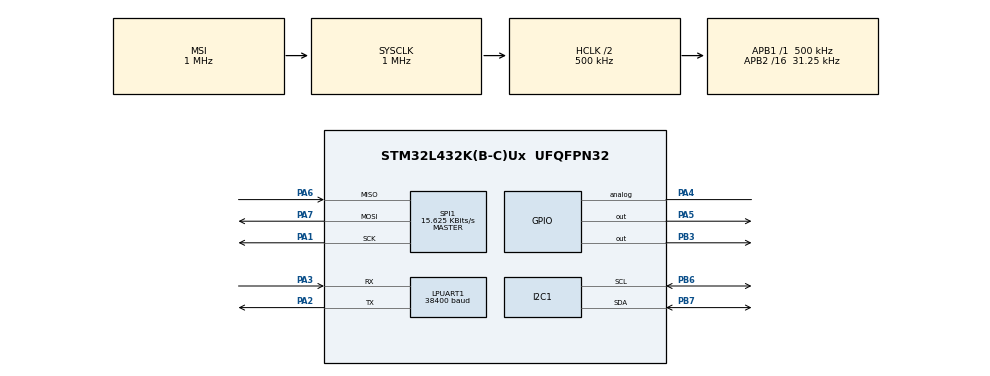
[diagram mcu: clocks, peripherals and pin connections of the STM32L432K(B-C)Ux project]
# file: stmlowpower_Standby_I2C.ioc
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FATFS._FS_TINY=1
FATFS._MAX_SS=4096
FATFS._USE_LFN=1
I2C1.Timing=0x00000103
LPUART1.BaudRate=38400
LPUART1.WordLength=UART_WORDLENGTH_8B
Mcu.Family=STM32L4
Mcu.Name=STM32L432K(B-C)Ux
Mcu.Package=UFQFPN32
NVIC.LPUART1_IRQn=true\:0\:0\:false\:false\:true\:true\:true\:true
NVIC.PriorityGroup=NVIC_PRIORITYGROUP_4
NVIC.RCC_IRQn=true\:0\:0\:false\:false\:true\:true\:false\:true
NVIC.RTC_WKUP_IRQn=true\:0\:0\:false\:false\:true\:true\:true\:true
PA0.Mode=HSE-External-Clock-Source-for-LittleOrca
PA0.Signal=RCC_CK_IN
PA1.GPIO_PuPd=GPIO_PULLUP
PA1.Mode=Full_Duplex_Master
PA1.Signal=SPI1_SCK
PA2.Mode=Asynchronous
PA2.Signal=LPUART1_TX
PA3.Mode=Asynchronous
PA3.Signal=LPUART1_RX
PA4.Signal=GPIO_Analog
PA5.GPIO_PuPd=GPIO_PULLUP
PA5.PinState=GPIO_PIN_SET
PA5.Signal=GPIO_Output
PA6.GPIO_PuPd=GPIO_PULLUP
PA6.Mode=Full_Duplex_Master
PA6.Signal=SPI1_MISO
PA7.GPIO_PuPd=GPIO_PULLUP
PA7.Mode=Full_Duplex_Master
PA7.Signal=SPI1_MOSI
PB3\ (JTDO-TRACESWO).Signal=GPIO_Output
PB6.Mode=I2C
PB6.Signal=I2C1_SCL
PB7.Mode=I2C
PB7.Signal=I2C1_SDA
ProjectManager.HeapSize=0x200
ProjectManager.StackSize=0x400
ProjectManager.TargetToolchain=STM32CubeIDE
RCC.ADCFreq_Value=500000
RCC.AHBCLKDivider=RCC_SYSCLK_DIV2
RCC.AHBFreq_Value=500000
RCC.APB1Freq_Value=500000
RCC.APB1TimFreq_Value=500000
RCC.APB2CLKDivider=RCC_HCLK_DIV16
RCC.APB2Freq_Value=31250
RCC.APB2TimFreq_Value=62500
RCC.CortexFreq_Value=62500
RCC.Cortex_Div=SYSTICK_CLKSOURCE_HCLK_DIV8
RCC.HCLKFreq_Value=500000
RCC.HSE_VALUE=1000000
RCC.HSI48_VALUE=48000000
RCC.HSI_VALUE=16000000
RCC.I2C1CLockSelection=RCC_I2C1CLKSOURCE_SYSCLK
RCC.LSE_VALUE=32768
RCC.MSIClockRange=RCC_MSIRANGE_4
RCC.MSI_VALUE=1000000
RCC.PLLM=8
RCC.PLLR=RCC_PLLR_DIV8
RCC.PLLSourceVirtual=RCC_PLLSOURCE_HSE
RCC.SYSCLKFreq_VALUE=1000000
RCC.USBFreq_Value=500000
RCC.VCOOutputFreq_Value=1000000
SPI1.CalculateBaudRate=15.625 KBits/s
SPI1.Direction=SPI_DIRECTION_2LINES
SPI1.Mode=SPI_MODE_MASTER
SPI1.VirtualType=VM_MASTER
VP_FATFS_VS_Generic.Mode=User_defined
VP_RTC_VS_RTC_Activate.Mode=RTC_Enabled
VP_RTC_VS_RTC_WakeUp_intern.Mode=WakeUp
board=custom

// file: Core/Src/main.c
/* USER CODE BEGIN Header */
/**
  ******************************************************************************
  * @file           : main.c
  * @brief          : Main program body
  ******************************************************************************
  * @attention
  *
  * Copyright (c) 2023 STMicroelectronics.
  * All rights reserved.
  *
  * This software is licensed under terms that can be found in the LICENSE file
  * in the root directory of this software component.
  * If no LICENSE file comes with this software, it is provided AS-IS.
  *
  ******************************************************************************
  */
/* USER CODE END Header */
#include "main.h"
#include "fatfs.h"

/* USER CODE BEGIN Includes */
#include "string.h"
#include <stdio.h>
/* USER CODE END Includes */

I2C_HandleTypeDef hi2c1;

UART_HandleTypeDef hlpuart1;

RTC_HandleTypeDef hrtc;

SPI_HandleTypeDef hspi1;

/* USER CODE BEGIN PV */
uint8_t  tempH; //Last 8 bits of temperature data
uint8_t  tempL; //First 8 bits of temperature data
uint16_t fullTemp; // Fill temperature dats
uint8_t config = 0x01; // Address for CTRL register on temperature sensor
FATFS       FatFs;         //Fatfs handle
FIL         fil;           //File handle
FRESULT     fres;          //Result after operations
char        buf[100];      // for reading sd card data
	FATFS *pfs;
	DWORD fre_clust;
uint32_t totalSpace, freeSpace;
/* USER CODE END PV */

void SystemClock_Config(void);
static void MX_GPIO_Init(void);
static void MX_RTC_Init(void);
static void MX_LPUART1_UART_Init(void);
static void MX_I2C1_Init(void);
static void MX_SPI1_Init(void);
/* USER CODE BEGIN PFP */
void UART_TRANSMIT(char *str){
	HAL_UART_Transmit(&hlpuart1, (uint8_t *) str, strlen (str), HAL_MAX_DELAY);
}
/* USER CODE END PFP */

/* USER CODE BEGIN 0 */
uint8_t Rx_data[4];  //  creating a buffer of 10 bytes

/*void HAL_UART_RxCpltCallback(UART_HandleTypeDef *huart)
{
  HAL_UART_Receive_IT(&hlpuart1, Rx_data, 1);
}*/
/* USER CODE END 0 */

int main(void)
{

  /* MCU Configuration--------------------------------------------------------*/

  /* Reset of all peripherals, Initializes the Flash interface and the Systick. */
  HAL_Init();

  /* Configure the system clock */
  SystemClock_Config();

  /* Initialize all configured peripherals */
  MX_GPIO_Init();
  MX_RTC_Init();
  MX_LPUART1_UART_Init();
  MX_I2C1_Init();
  MX_SPI1_Init();
  MX_FATFS_Init();
  /* USER CODE BEGIN 2 */
  /* Blink the LED */
  //HAL_GPIO_WritePin(GPIOC, GPIO_PIN_14, GPIO_PIN_SET);
  for (int i=0; i<20; i++)
   {
 	  HAL_GPIO_TogglePin(GPIOB, GPIO_PIN_3);
 	  HAL_Delay (200);
   }
    fres = f_mount(&FatFs, "", 1);    //1=mount now
  	if (fres != FR_OK)
  	{
  		char str[80];
  		sprintf(str, "No SD Card found : (%i)\r\n", fres);
  		HAL_UART_Transmit(&hlpuart1, (uint8_t *)str, strlen (str), HAL_MAX_DELAY);
  	}else{
  		char *str = "SD Card Mounted Successfully!!!\r\n";
  		HAL_UART_Transmit(&hlpuart1, (uint8_t *)str, strlen (str), HAL_MAX_DELAY);
  		// SD CARD CODE //
  		f_getfree("", &fre_clust, &pfs);
  		totalSpace = (uint32_t)((pfs->n_fatent - 2) * pfs->csize * 0.5);
  		freeSpace = (uint32_t)(fre_clust * pfs->csize * 0.5);
  		char str2[80];
  		sprintf(str2,"TotalSpace : %lu bytes, FreeSpace = %lu bytes\n", totalSpace, freeSpace);
  		HAL_UART_Transmit(&hlpuart1, (uint8_t *)str2, strlen (str2), HAL_MAX_DELAY);
  		// WRITE DATA //
  		fres = f_open(&fil, "tData.txt", FA_WRITE | FA_READ | FA_CREATE_ALWAYS);
  		if(fres == FR_OK)
  		{
  			//write the data
  			char str3[4];
  			sprintf(str3,"%u\n", (unsigned int)fullTemp);
  			f_puts(str3, &fil);
  			//close the file
  			f_close(&fil);
  			// unmount drive
  		    f_mount(NULL, "", 0);
  		  	char *str = "File written and closed.\n\n";
  		  	HAL_UART_Transmit(&hlpuart1, (uint8_t *)str, strlen (str), HAL_MAX_DELAY);
  		  	//Check if drive can remain mounted in standby mode
  		}else{
  			char str[80];
  			sprintf(str,"File creation/open Error : (%i)\r\n", fres);
  			HAL_UART_Transmit(&hlpuart1, (uint8_t *)str, strlen (str), HAL_MAX_DELAY);
  		}
  	}
  	if (__HAL_PWR_GET_FLAG(PWR_FLAG_SB) != RESET) //
  	{
  		__HAL_PWR_CLEAR_FLAG(PWR_FLAG_SB);  // clear the flag

  		/** display  the string **/
  		char *str = "Wakeup from the STANDBY MODE\n\n";
  		HAL_UART_Transmit(&hlpuart1, (uint8_t *)str, strlen (str), HAL_MAX_DELAY);

  		/** Disable the WWAKEUP PIN **/
  		HAL_PWR_DisableWakeUpPin(PWR_WAKEUP_PIN1);  // disable PA0

  		/** Deactivate the RTC wakeup  **/
  		HAL_RTCEx_DeactivateWakeUpTimer(&hrtc);

  		// TEMPERATURE CODE //
  	  	// Device Address is the manufacturer set slave address shifted left + 1
  		if (HAL_I2C_IsDeviceReady(&hi2c1,0x79,1,1000) == HAL_OK){ // Check if temp sensor detected
  			UART_TRANSMIT("I2C Device Detected\n\n");
  		 	// Write config to CTRL register in temp sensor
  		 	//HAL_Delay(10);
  		 	// Write it again to make sure
  		 	HAL_I2C_Mem_Write(&hi2c1, 0x78, 0x04, 1, &config, 1, HAL_MAX_DELAY);
  		 	HAL_Delay(10);
  		 	// Read data from both temperature registers
  		 	HAL_I2C_Mem_Read(&hi2c1, 0x79 | 0x01, 0x06, 1, &tempL, 1, HAL_MAX_DELAY);
  		 	HAL_I2C_Mem_Read(&hi2c1, 0x79 | 0x01, 0x07, 1, &tempH, 1, HAL_MAX_DELAY);
  		 	char str2[80];
  		 	fullTemp =((uint16_t)tempH << 8) | tempL; // concatenate temperatures
  		 	sprintf(str2, "temperature = %d \n", fullTemp/100);
  		 	HAL_UART_Transmit(&hlpuart1, (uint8_t *)str2, strlen (str2), HAL_MAX_DELAY);
  		}
  	}
  	/** Now enter the standby mode **/
  	/* Clear the WU FLAG */
  	__HAL_PWR_CLEAR_FLAG(PWR_FLAG_WU);

  	/* clear the RTC Wake UP (WU) flag */
  	__HAL_RTC_WAKEUPTIMER_CLEAR_FLAG(&hrtc, RTC_FLAG_WUTF);

  	/* Display the string */
  	char *str = "About to enter the STANDBY MODE\n\n";
  	HAL_UART_Transmit(&hlpuart1, (uint8_t *)str, strlen (str), HAL_MAX_DELAY);

  	/* Enable the WAKEUP PIN */
  	HAL_PWR_EnableWakeUpPin(PWR_WAKEUP_PIN1);
  	/* enable the RTC Wakeup */
  		/*  RTC Wake-up Interrupt Generation:
  	    Wake-up Time Base = (RTC_WAKEUPCLOCK_RTCCLK_DIV /(LSI))
  	    ==> WakeUpCounter = Wake-up Time / Wake-up Time Base

  	    To configure the wake up timer to 5s the WakeUpCounter is set to 0x2710:
  	    RTC_WAKEUPCLOCK_RTCCLK_DIV = RTCCLK_Div16 = 16
  	    Wake-up Time Base = 16 /(32KHz) = 0.0005 seconds
  	    ==> WakeUpCounter = ~5s/0.0005s = 20000 = 0x2710
  	*/
  	if (HAL_RTCEx_SetWakeUpTimer_IT(&hrtc, 0x2710, RTC_WAKEUPCLOCK_RTCCLK_DIV16) != HAL_OK)
  	{
  	  Error_Handler();
  	}

  	/* one last string to be sure */
  	char *str2 = "STANDBY MODE is ON\n\n";
  	HAL_UART_Transmit(&hlpuart1, (uint8_t *)str2, strlen (str2), HAL_MAX_DELAY);

  	/* Finally enter the standby mode */
  	HAL_PWR_EnterSTANDBYMode();

  /* USER CODE END 2 */

  /* Infinite loop */
  while (1)
  {

  }
}

void SystemClock_Config(void)
{
  RCC_OscInitTypeDef RCC_OscInitStruct = {0};
  RCC_ClkInitTypeDef RCC_ClkInitStruct = {0};

  /** Configure the main internal regulator output voltage
  */
  if (HAL_PWREx_ControlVoltageScaling(PWR_REGULATOR_VOLTAGE_SCALE1) != HAL_OK)
  {
    Error_Handler();
  }

  /** Initializes the RCC Oscillators according to the specified parameters
  * in the RCC_OscInitTypeDef structure.
  */
  RCC_OscInitStruct.OscillatorType = RCC_OSCILLATORTYPE_LSI|RCC_OSCILLATORTYPE_MSI;
  RCC_OscInitStruct.LSIState = RCC_LSI_ON;
  RCC_OscInitStruct.MSIState = RCC_MSI_ON;
  RCC_OscInitStruct.MSICalibrationValue = 0;
  RCC_OscInitStruct.MSIClockRange = RCC_MSIRANGE_4;
  RCC_OscInitStruct.PLL.PLLState = RCC_PLL_NONE;
  if (HAL_RCC_OscConfig(&RCC_OscInitStruct) != HAL_OK)
  {
    Error_Handler();
  }

  /** Initializes the CPU, AHB and APB buses clocks
  */
  RCC_ClkInitStruct.ClockType = RCC_CLOCKTYPE_HCLK|RCC_CLOCKTYPE_SYSCLK
                              |RCC_CLOCKTYPE_PCLK1|RCC_CLOCKTYPE_PCLK2;
  RCC_ClkInitStruct.SYSCLKSource = RCC_SYSCLKSOURCE_MSI;
  RCC_ClkInitStruct.AHBCLKDivider = RCC_SYSCLK_DIV2;
  RCC_ClkInitStruct.APB1CLKDivider = RCC_HCLK_DIV1;
  RCC_ClkInitStruct.APB2CLKDivider = RCC_HCLK_DIV16;

  if (HAL_RCC_ClockConfig(&RCC_ClkInitStruct, FLASH_LATENCY_0) != HAL_OK)
  {
    Error_Handler();
  }
}

static void MX_I2C1_Init(void)
{

  hi2c1.Instance = I2C1;
  hi2c1.Init.Timing = 0x00000103;
  hi2c1.Init.OwnAddress1 = 0;
  hi2c1.Init.AddressingMode = I2C_ADDRESSINGMODE_7BIT;
  hi2c1.Init.DualAddressMode = I2C_DUALADDRESS_DISABLE;
  hi2c1.Init.OwnAddress2 = 0;
  hi2c1.Init.OwnAddress2Masks = I2C_OA2_NOMASK;
  hi2c1.Init.GeneralCallMode = I2C_GENERALCALL_DISABLE;
  hi2c1.Init.NoStretchMode = I2C_NOSTRETCH_DISABLE;
  if (HAL_I2C_Init(&hi2c1) != HAL_OK)
  {
    Error_Handler();
  }

  /** Configure Analogue filter
  */
  if (HAL_I2CEx_ConfigAnalogFilter(&hi2c1, I2C_ANALOGFILTER_ENABLE) != HAL_OK)
  {
    Error_Handler();
  }

  /** Configure Digital filter
  */
  if (HAL_I2CEx_ConfigDigitalFilter(&hi2c1, 0) != HAL_OK)
  {
    Error_Handler();
  }

}

static void MX_LPUART1_UART_Init(void)
{

  hlpuart1.Instance = LPUART1;
  hlpuart1.Init.BaudRate = 38400;
  hlpuart1.Init.WordLength = UART_WORDLENGTH_8B;
  hlpuart1.Init.StopBits = UART_STOPBITS_1;
  hlpuart1.Init.Parity = UART_PARITY_NONE;
  hlpuart1.Init.Mode = UART_MODE_TX_RX;
  hlpuart1.Init.HwFlowCtl = UART_HWCONTROL_NONE;
  hlpuart1.Init.OneBitSampling = UART_ONE_BIT_SAMPLE_DISABLE;
  hlpuart1.AdvancedInit.AdvFeatureInit = UART_ADVFEATURE_NO_INIT;
  if (HAL_UART_Init(&hlpuart1) != HAL_OK)
  {
    Error_Handler();
  }

}

static void MX_RTC_Init(void)
{

  /** Initialize RTC Only
  */
  hrtc.Instance = RTC;
  hrtc.Init.HourFormat = RTC_HOURFORMAT_24;
  hrtc.Init.AsynchPrediv = 127;
  hrtc.Init.SynchPrediv = 255;
  hrtc.Init.OutPut = RTC_OUTPUT_DISABLE;
  hrtc.Init.OutPutRemap = RTC_OUTPUT_REMAP_NONE;
  hrtc.Init.OutPutPolarity = RTC_OUTPUT_POLARITY_HIGH;
  hrtc.Init.OutPutType = RTC_OUTPUT_TYPE_OPENDRAIN;
  if (HAL_RTC_Init(&hrtc) != HAL_OK)
  {
    Error_Handler();
  }

}

static void MX_SPI1_Init(void)
{

  /* SPI1 parameter configuration*/
  hspi1.Instance = SPI1;
  hspi1.Init.Mode = SPI_MODE_MASTER;
  hspi1.Init.Direction = SPI_DIRECTION_2LINES;
  hspi1.Init.DataSize = SPI_DATASIZE_4BIT;
  hspi1.Init.CLKPolarity = SPI_POLARITY_LOW;
  hspi1.Init.CLKPhase = SPI_PHASE_1EDGE;
  hspi1.Init.NSS = SPI_NSS_SOFT;
  hspi1.Init.BaudRatePrescaler = SPI_BAUDRATEPRESCALER_2;
  hspi1.Init.FirstBit = SPI_FIRSTBIT_MSB;
  hspi1.Init.TIMode = SPI_TIMODE_DISABLE;
  hspi1.Init.CRCCalculation = SPI_CRCCALCULATION_DISABLE;
  hspi1.Init.CRCPolynomial = 7;
  hspi1.Init.CRCLength = SPI_CRC_LENGTH_DATASIZE;
  hspi1.Init.NSSPMode = SPI_NSS_PULSE_ENABLE;
  if (HAL_SPI_Init(&hspi1) != HAL_OK)
  {
    Error_Handler();
  }

}

static void MX_GPIO_Init(void)
{
  GPIO_InitTypeDef GPIO_InitStruct = {0};

  /* GPIO Ports Clock Enable */
  __HAL_RCC_GPIOA_CLK_ENABLE();
  __HAL_RCC_GPIOB_CLK_ENABLE();

  /*Configure GPIO pin Output Level */
  HAL_GPIO_WritePin(GPIOA, GPIO_PIN_5, GPIO_PIN_SET);

  /*Configure GPIO pin Output Level */
  HAL_GPIO_WritePin(GPIOB, GPIO_PIN_3, GPIO_PIN_RESET);

  /*Configure GPIO pin : PA4 */
  GPIO_InitStruct.Pin = GPIO_PIN_4;
  GPIO_InitStruct.Mode = GPIO_MODE_ANALOG;
  GPIO_InitStruct.Pull = GPIO_NOPULL;
  HAL_GPIO_Init(GPIOA, &GPIO_InitStruct);

  /*Configure GPIO pin : PA5 */
  GPIO_InitStruct.Pin = GPIO_PIN_5;
  GPIO_InitStruct.Mode = GPIO_MODE_OUTPUT_PP;
  GPIO_InitStruct.Pull = GPIO_PULLUP;
  GPIO_InitStruct.Speed = GPIO_SPEED_FREQ_LOW;
  HAL_GPIO_Init(GPIOA, &GPIO_InitStruct);

  /*Configure GPIO pin : PB3 */
  GPIO_InitStruct.Pin = GPIO_PIN_3;
  GPIO_InitStruct.Mode = GPIO_MODE_OUTPUT_PP;
  GPIO_InitStruct.Pull = GPIO_NOPULL;
  GPIO_InitStruct.Speed = GPIO_SPEED_FREQ_LOW;
  HAL_GPIO_Init(GPIOB, &GPIO_InitStruct);

}

void Error_Handler(void)
{
  __disable_irq();
  while (1)
  {
  }
}
